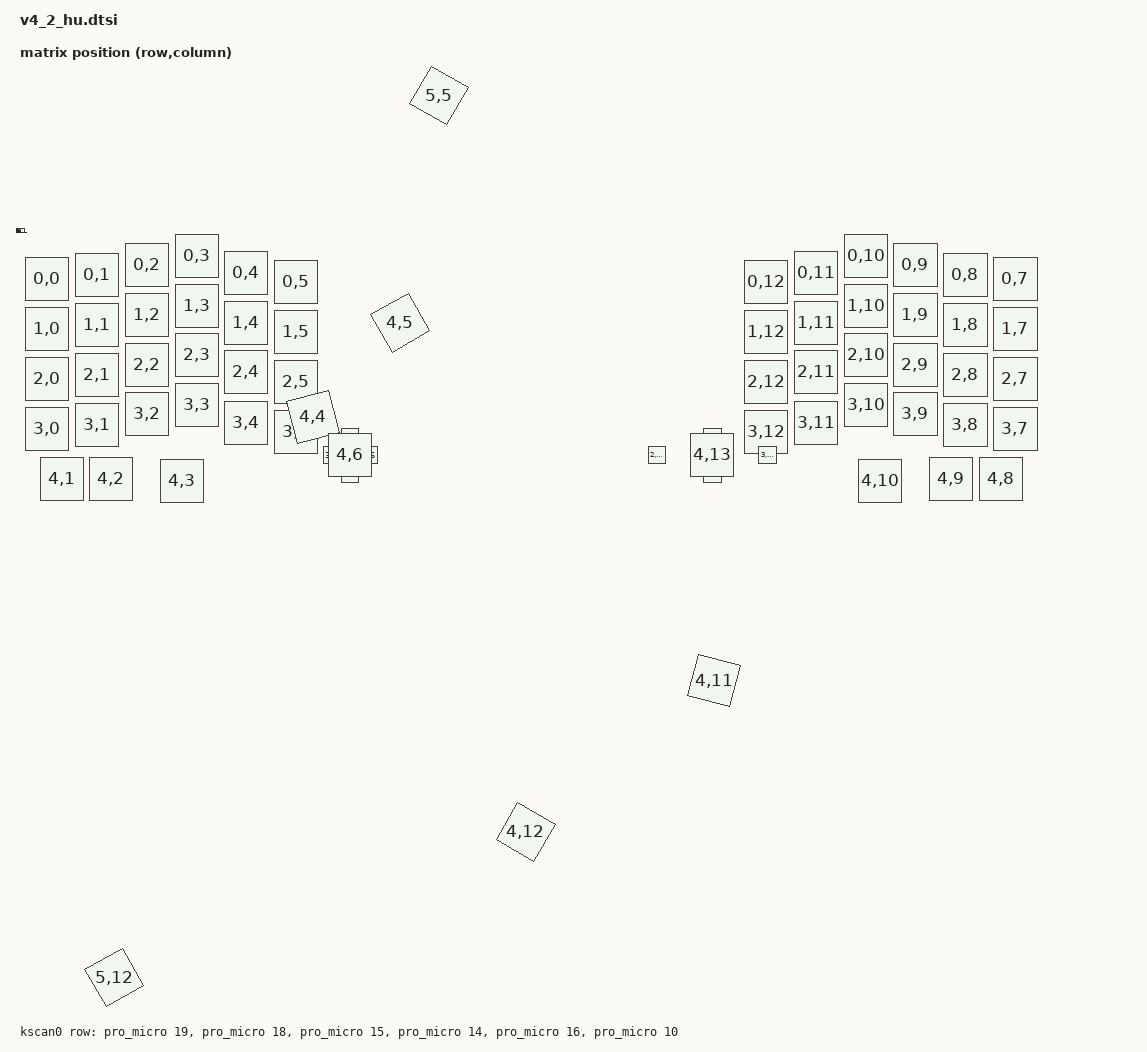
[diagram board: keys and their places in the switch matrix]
/*
 * Copyright (c) 2022 The ZMK Contributors
 *
 * SPDX-License-Identifier: MIT
 */

#include <dt-bindings/zmk/matrix_transform.h>
#include <physical_layouts.dtsi>

/ {
    chosen {
        zmk,kscan = &kscan0;
        zmk,matrix_transform = &default_transform;
        zmk,physical-layout = &physical_layout0;
    };

    default_transform: keymap_transform_0 {
        compatible = "zmk,matrix-transform";
        columns = <14>;
        rows = <6>;
        map = <
            RC(0,0) RC(0,1) RC(0,2) RC(0,3) RC(0,4) RC(0,5) RC(0,6)    RC(0,7) RC(0,8) RC(0,9) RC(0,10) RC(0,11) RC(0,12) RC(0,13)
            RC(1,0) RC(1,1) RC(1,2) RC(1,3) RC(1,4) RC(1,5) RC(1,6)    RC(1,7) RC(1,8) RC(1,9) RC(1,10) RC(1,11) RC(1,12) RC(1,13)
            RC(2,0) RC(2,1) RC(2,2) RC(2,3) RC(2,4) RC(2,5) RC(2,6)    RC(2,7) RC(2,8) RC(2,9) RC(2,10) RC(2,11) RC(2,12) RC(2,13)
            RC(3,0) RC(3,1) RC(3,2) RC(3,3) RC(3,4) RC(3,5) RC(3,6)    RC(3,7) RC(3,8) RC(3,9) RC(3,10) RC(3,11) RC(3,12) RC(3,13)
            RC(4,0) RC(4,1) RC(4,2) RC(4,3) RC(4,4) RC(4,5) RC(4,6)    RC(4,7) RC(4,8) RC(4,9) RC(4,10) RC(4,11) RC(4,12) RC(4,13)
            RC(5,0) RC(5,1) RC(5,2) RC(5,3) RC(5,4) RC(5,5) RC(5,6)    RC(5,7) RC(5,8) RC(5,9) RC(5,10) RC(5,11) RC(5,12) RC(5,13)
        >;
    };

    physical_layout0: physical_layout_0 {
        compatible = "zmk,physical-layout";
        display-name = "Default Layout";
        transform = <&default_transform>;
        keys
            = <&key_physical_attrs 94 94 3 50 0 0 0>
              , <&key_physical_attrs 94 94 102 42 0 0 0>
              , <&key_physical_attrs 94 94 202 21 0 0 0>
              , <&key_physical_attrs 94 94 302 3 0 0 0>
              , <&key_physical_attrs 94 94 402 37 0 0 0>
              , <&key_physical_attrs 94 94 501 55 0 0 0>
              , <&key_physical_attrs 42 42 635 391 0 0 0>
              , <&key_physical_attrs 94 94 1940 50 0 0 0>
              , <&key_physical_attrs 94 94 1840 42 0 0 0>
              , <&key_physical_attrs 94 94 1740 21 0 0 0>
              , <&key_physical_attrs 94 94 1641 3 0 0 0>
              , <&key_physical_attrs 94 94 1541 37 0 0 0>
              , <&key_physical_attrs 94 94 1441 55 0 0 0>
              , <&key_physical_attrs 42 42 1360 391 0 0 0>
              , <&key_physical_attrs 94 94 3 150 0 0 0>
              , <&key_physical_attrs 94 94 102 142 0 0 0>
              , <&key_physical_attrs 94 94 202 121 0 0 0>
              , <&key_physical_attrs 94 94 302 103 0 0 0>
              , <&key_physical_attrs 94 94 402 137 0 0 0>
              , <&key_physical_attrs 94 94 501 155 0 0 0>
              , <&key_physical_attrs 42 42 635 465 0 0 0>
              , <&key_physical_attrs 94 94 1940 150 0 0 0>
              , <&key_physical_attrs 94 94 1840 142 0 0 0>
              , <&key_physical_attrs 94 94 1740 121 0 0 0>
              , <&key_physical_attrs 94 94 1641 103 0 0 0>
              , <&key_physical_attrs 94 94 1541 137 0 0 0>
              , <&key_physical_attrs 94 94 1441 155 0 0 0>
              , <&key_physical_attrs 42 42 1360 465 0 0 0>
              , <&key_physical_attrs 94 94 3 249 0 0 0>
              , <&key_physical_attrs 94 94 102 242 0 0 0>
              , <&key_physical_attrs 94 94 202 221 0 0 0>
              , <&key_physical_attrs 94 94 302 202 0 0 0>
              , <&key_physical_attrs 94 94 402 236 0 0 0>
              , <&key_physical_attrs 94 94 501 255 0 0 0>
              , <&key_physical_attrs 42 42 672 428 0 0 0>
              , <&key_physical_attrs 94 94 1940 249 0 0 0>
              , <&key_physical_attrs 94 94 1840 242 0 0 0>
              , <&key_physical_attrs 94 94 1740 221 0 0 0>
              , <&key_physical_attrs 94 94 1641 202 0 0 0>
              , <&key_physical_attrs 94 94 1541 236 0 0 0>
              , <&key_physical_attrs 94 94 1441 255 0 0 0>
              , <&key_physical_attrs 42 42 1249 428 0 0 0>
              , <&key_physical_attrs 94 94 3 349 0 0 0>
              , <&key_physical_attrs 94 94 102 341 0 0 0>
              , <&key_physical_attrs 94 94 202 320 0 0 0>
              , <&key_physical_attrs 94 94 302 302 0 0 0>
              , <&key_physical_attrs 94 94 402 338 0 0 0>
              , <&key_physical_attrs 94 94 501 356 0 0 0>
              , <&key_physical_attrs 42 42 599 428 0 0 0>
              , <&key_physical_attrs 94 94 1940 349 0 0 0>
              , <&key_physical_attrs 94 94 1840 341 0 0 0>
              , <&key_physical_attrs 94 94 1740 320 0 0 0>
              , <&key_physical_attrs 94 94 1641 302 0 0 0>
              , <&key_physical_attrs 94 94 1541 338 0 0 0>
              , <&key_physical_attrs 94 94 1441 356 0 0 0>
              , <&key_physical_attrs 42 42 1470 428 0 0 0>
              , <&key_physical_attrs 0 0 0 0 0 0 0>
              , <&key_physical_attrs 94 94 32 449 0 0 0>
              , <&key_physical_attrs 94 94 131 449 0 0 0>
              , <&key_physical_attrs 94 94 273 454 0 0 0>
              , <&key_physical_attrs 94 94 419 464 (-1500) 0 0>
              , <&key_physical_attrs 94 94 516 491 (-3000) 0 0>
              , <&key_physical_attrs 94 94 609 402 0 0 0>
              , <&key_physical_attrs 0 0 0 0 0 0 0>
              , <&key_physical_attrs 94 94 1911 449 0 0 0>
              , <&key_physical_attrs 94 94 1811 449 0 0 0>
              , <&key_physical_attrs 94 94 1669 454 0 0 0>
              , <&key_physical_attrs 94 94 1523 464 1500 0 0>
              , <&key_physical_attrs 94 94 1427 491 3000 0 0>
              , <&key_physical_attrs 94 94 1333 402 0 0 0>
              , <&key_physical_attrs 0 0 0 0 0 0 0>
              , <&key_physical_attrs 0 0 0 0 0 0 0>
              , <&key_physical_attrs 0 0 0 0 0 0 0>
              , <&key_physical_attrs 0 0 0 0 0 0 0>
              , <&key_physical_attrs 0 0 0 0 0 0 0>
              , <&key_physical_attrs 94 94 604 540 (-6000) 0 0>
              , <&key_physical_attrs 0 0 0 0 0 0 0>
              , <&key_physical_attrs 0 0 0 0 0 0 0>
              , <&key_physical_attrs 0 0 0 0 0 0 0>
              , <&key_physical_attrs 0 0 0 0 0 0 0>
              , <&key_physical_attrs 0 0 0 0 0 0 0>
              , <&key_physical_attrs 0 0 0 0 0 0 0>
              , <&key_physical_attrs 94 94 1339 540 6000 0 0>
              , <&key_physical_attrs 0 0 0 0 0 0 0>
            ;
    };

    kscan0: kscan_0 {
        compatible = "zmk,kscan-gpio-matrix";
        label = "KSCAN";
        
        diode-direction = "col2row";
        row-gpios
            = <&pro_micro 19 (GPIO_ACTIVE_HIGH | GPIO_PULL_DOWN)>
            , <&pro_micro 18 (GPIO_ACTIVE_HIGH | GPIO_PULL_DOWN)>
            , <&pro_micro 15 (GPIO_ACTIVE_HIGH | GPIO_PULL_DOWN)>
            , <&pro_micro 14 (GPIO_ACTIVE_HIGH | GPIO_PULL_DOWN)>
            , <&pro_micro 16 (GPIO_ACTIVE_HIGH | GPIO_PULL_DOWN)>
            , <&pro_micro 10 (GPIO_ACTIVE_HIGH | GPIO_PULL_DOWN)>
            ;
    };
};
